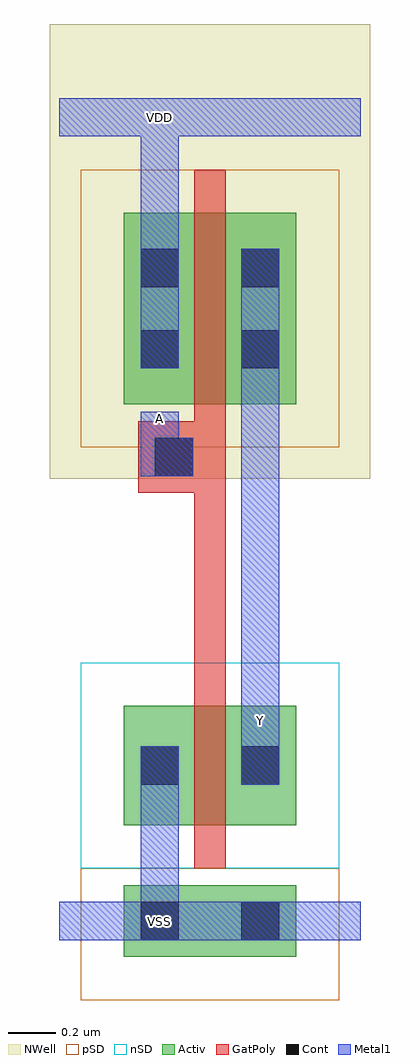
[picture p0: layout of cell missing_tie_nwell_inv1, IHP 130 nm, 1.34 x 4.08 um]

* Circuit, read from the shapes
.subckt missing_tie_nwell_inv1 A VDD VSS Y
XM1 Y A VSS VSS sg13_lv_nmos w=0.5u l=0.13u
XM2 Y A VDD n1 sg13_lv_pmos w=0.8u l=0.13u
.ends

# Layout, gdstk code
import gdstk
lib = gdstk.Library(unit=1e-6, precision=1e-09)
def R(c, l, rs):  # rectangles x0, y0, x1, y1
    for r in rs: c.add(gdstk.rectangle(r[:2], r[2:], *l))
Activ = (1, 0)
GatPoly = (5, 0)
Cont = (6, 0)
nSD = (7, 0)
Metal1 = (8, 0)
pSD = (14, 0)
NWell = (31, 0)

missing_tie_nwell_inv1 = lib.new_cell('missing_tie_nwell_inv1')
R(missing_tie_nwell_inv1, Activ, [(0.27,-0.15,0.99,0.15), (0.27,0.4,0.99,0.9), (0.27,2.16,0.99,2.96)])
R(missing_tie_nwell_inv1, GatPoly, [(0.565,0.22,0.695,3.14), (0.33,1.79,0.695,2.09)])
R(missing_tie_nwell_inv1, Cont, [(0.34,-0.08,0.5,0.08), (0.76,-0.08,0.92,0.08), (0.34,0.57,0.5,0.73), (0.76,0.57,0.92,0.73), (0.4,1.86,0.56,2.02), (0.34,2.31,0.5,2.47), (0.76,2.31,0.92,2.47), (0.34,2.65,0.5,2.81), (0.76,2.65,0.92,2.81)])
R(missing_tie_nwell_inv1, nSD, [(0.09,0.22,1.17,1.08)])
R(missing_tie_nwell_inv1, Metal1, [(0,-0.08,1.26,0.08), (0.34,-0.08,0.5,0.73), (0.34,-0.08,0.92,0.08), (0.76,0.57,0.92,1.17), (0.76,1.01,0.92,1.17), (0.76,1.01,0.92,2.81), (0.34,1.86,0.5,2.13), (0.34,1.86,0.56,2.02), (0.34,2.31,0.5,3.44), (0,3.28,1.26,3.44), (0.34,3.28,0.92,3.44)])
R(missing_tie_nwell_inv1, pSD, [(0.09,-0.33,1.17,0.22), (0.09,1.98,1.17,3.14)])
R(missing_tie_nwell_inv1, NWell, [(-0.04,1.85,1.3,3.75)])
missing_tie_nwell_inv1.add(gdstk.Label('VSS', (0.42,0), layer=8, texttype=25))
missing_tie_nwell_inv1.add(gdstk.Label('A', (0.42,2.1), layer=8, texttype=25))
missing_tie_nwell_inv1.add(gdstk.Label('VDD', (0.42,3.36), layer=8, texttype=25))
missing_tie_nwell_inv1.add(gdstk.Label('Y', (0.84,0.84), layer=8, texttype=25))

lib.write_gds('missing_tie_nwell_inv1.gds')
